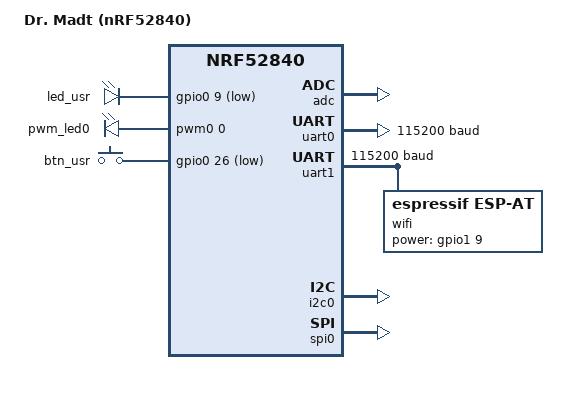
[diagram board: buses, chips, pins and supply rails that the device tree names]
/*
 * Copyright (c) 2022 Caspar Friedrich <c.s.w.friedrich@gmail.com>
 *
 * SPDX-License-Identifier: Apache-2.0
 */

/dts-v1/;

#include <nordic/nrf52840_qiaa.dtsi>
#include "dr_madt_nrf52840-pinctrl.dtsi"

/ {
	model = "Dr. Madt (nRF52840)";
	compatible = "dr_madt_nrf52840";

	chosen {
		zephyr,console = &uart0;
		zephyr,shell-uart = &uart0;
		zephyr,uart-mcumgr = &uart0;
		zephyr,bt-mon-uart = &uart0;
		zephyr,bt-c2h-uart = &uart0;
		zephyr,sram = &sram0;
		zephyr,flash = &flash0;
		zephyr,code-partition = &slot0_partition;
	};

	leds {
		compatible = "gpio-leds";

		led_usr: led_0 {
			gpios = <&gpio0 9 GPIO_ACTIVE_LOW>;
		};
	};

	pwmleds {
		compatible = "pwm-leds";

		pwm_led0: pwm_led_0 {
			pwms = <&pwm0 0 PWM_MSEC(20) PWM_POLARITY_INVERTED>;
		};
	};

	buttons {
		compatible = "gpio-keys";

		btn_usr: button_0 {
			gpios = <&gpio0 26 GPIO_ACTIVE_LOW>;
		};
	};

	aliases {
		led0 = &led_usr;
		pwm-led0 = &pwm_led0;
		sw0 = &btn_usr;
		bootloader-led0 = &led_usr;
	};
};

&pwm0 {
	pinctrl-0 = <&pwm0_default>;
	pinctrl-1 = <&pwm0_sleep>;
	pinctrl-names = "default", "sleep";

	status = "disabled";
};

&adc {
	status = "okay";
};

&gpiote {
	status = "okay";
};

&gpio0 {
	status = "okay";
};

&gpio1 {
	status = "okay";
};

&uart0 {
	current-speed = <115200>;
	pinctrl-0 = <&uart0_default>;
	pinctrl-1 = <&uart0_sleep>;
	pinctrl-names = "default", "sleep";
	status = "okay";
};

&uart1 {
	current-speed = <115200>;
	pinctrl-0 = <&uart1_default>;
	pinctrl-1 = <&uart1_sleep>;
	pinctrl-names = "default", "sleep";
	status = "okay";

	wifi: esp-wifi {
		compatible = "espressif,esp-at";
		power-gpios = <&gpio1 9 GPIO_ACTIVE_HIGH>;
	};
};

&i2c0 {
	pinctrl-0 = <&i2c0_default>;
	pinctrl-1 = <&i2c0_sleep>;
	pinctrl-names = "default", "sleep";
	status = "okay";
};

&spi0 {
	pinctrl-0 = <&spi0_default>;
	pinctrl-1 = <&spi0_sleep>;
	pinctrl-names = "default", "sleep";
	status = "okay";
};

&flash0 {
	partitions {
		compatible = "fixed-partitions";
		#address-cells = <1>;
		#size-cells = <1>;

		boot_partition: partition@0 {
			label = "mcuboot";
			reg = <0x000000000 0x0000C000>;
		};

		slot0_partition: partition@c000 {
			label = "image-0";
			reg = <0x0000C000 0x00067000>;
		};

		slot1_partition: partition@73000 {
			label = "image-1";
			reg = <0x00073000 0x00067000>;
		};

		scratch_partition: partition@da000 {
			label = "image-scratch";
			reg = <0x000da000 0x0001e000>;
		};

		storage_partition: partition@f8000 {
			label = "storage";
			reg = <0x000f8000 0x00008000>;
		};
	};
};

zephyr_udc0: &usbd {
	compatible = "nordic,nrf-usbd";
	status = "disabled";

	cdc_acm_uart0: cdc_acm_uart0 {
		compatible = "zephyr,cdc-acm-uart";
		label = "CDC_ACM_0";
	};
};
